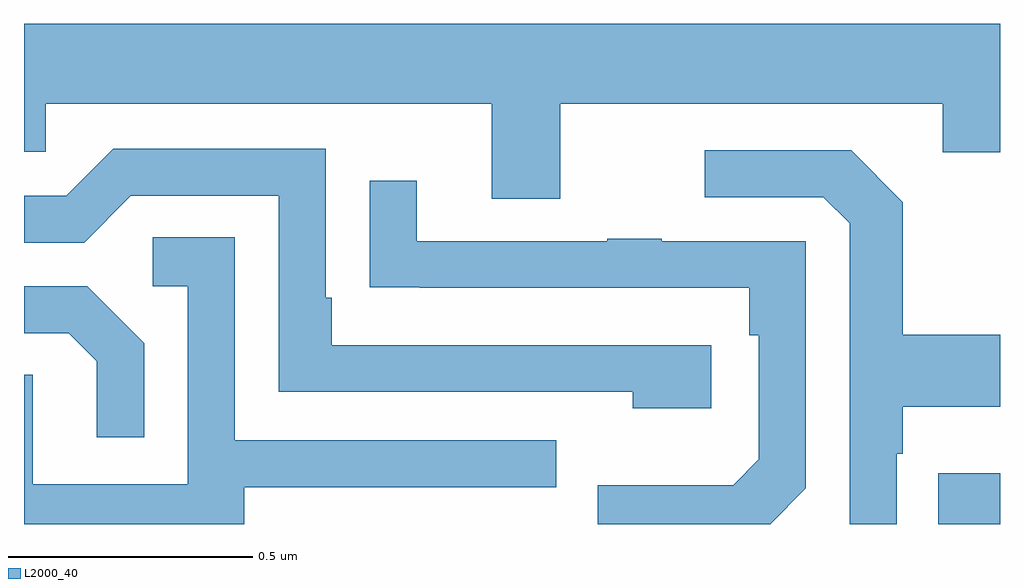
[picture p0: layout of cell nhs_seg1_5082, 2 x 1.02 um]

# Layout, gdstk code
import gdstk
lib = gdstk.Library(unit=1e-6, precision=1e-09)
def R(c, l, rs):  # rectangles x0, y0, x1, y1
    for r in rs: c.add(gdstk.rectangle(r[:2], r[2:], *l))
def P(c, l, *ps):  # polygons
    for p in ps: c.add(gdstk.Polygon(p, *l))
L2000_40 = (2000, 40)

nhs_seg1_5082 = lib.new_cell('nhs_seg1_5082')
R(nhs_seg1_5082, L2000_40, [(175.873,556.199,176,556.303)])
P(nhs_seg1_5082, L2000_40, [(175.099,557.06),(175.883,557.06),(175.883,556.961),(176,556.961),(176,557.224),(174,557.224),(174,556.962),(174.045,556.962),(174.045,557.06),(174.959,557.06),(174.959,556.866),(175.099,556.866)],
  [(175.408,556.566),(174.631,556.566),(174.631,556.663),(174.618,556.663),(174.618,556.968),(174.183,556.968),(174.087,556.872),(174,556.872),(174,556.776),(174.123,556.776),(174.219,556.872),(174.522,556.872),(174.522,556.47),(175.247,556.47),(175.247,556.436),(175.408,556.436)],
  [(175.788,556.343),(175.801,556.343),(175.801,556.439),(176,556.439),(176,556.587),(175.801,556.587),(175.801,556.859),(175.695,556.965),(175.395,556.965),(175.395,556.869),(175.638,556.869),(175.692,556.815),(175.692,556.199),(175.788,556.199)],
  [(175.602,556.272),(175.602,556.779),(175.307,556.779),(175.307,556.784),(175.195,556.784),(175.195,556.779),(174.805,556.779),(174.805,556.903),(174.709,556.903),(174.709,556.684),(174.811,556.684),(174.811,556.683),(175.486,556.683),(175.486,556.586),(175.506,556.586),(175.506,556.332),(175.453,556.279),(175.176,556.279),(175.176,556.199),(175.529,556.199)],
  [(174.451,556.275),(175.091,556.275),(175.091,556.371),(174.432,556.371),(174.432,556.787),(174.264,556.787),(174.264,556.686),(174.336,556.686),(174.336,556.281),(174.018,556.281),(174.018,556.505),(174,556.505),(174,556.199),(174.451,556.199)],
  [(174.246,556.57),(174.13,556.686),(174,556.686),(174,556.59),(174.092,556.59),(174.149,556.533),(174.149,556.377),(174.246,556.377)])

lib.write_gds('nhs_seg1_5082.gds')
